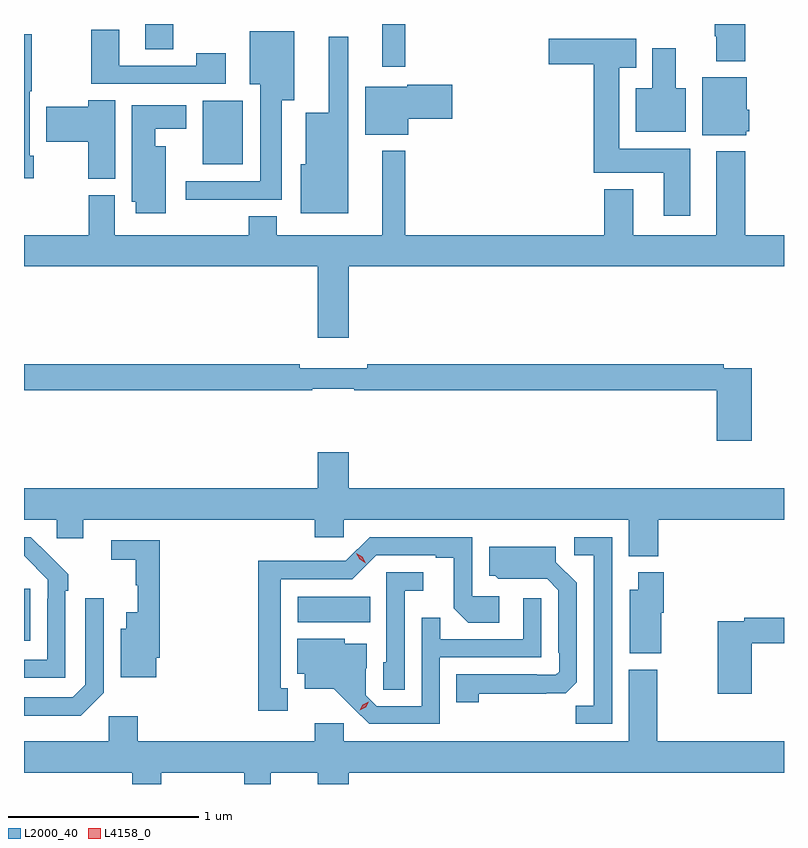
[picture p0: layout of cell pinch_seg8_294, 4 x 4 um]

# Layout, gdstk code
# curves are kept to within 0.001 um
import gdstk
lib = gdstk.Library(unit=1e-6, precision=1e-09)
def R(c, l, rs):  # rectangles x0, y0, x1, y1
    for r in rs: c.add(gdstk.rectangle(r[:2], r[2:], *l))
def P(c, l, *ps):  # polygons
    for p in ps: c.add(gdstk.Polygon(p, *l))
L2000_40 = (2000, 40)
L4158_0 = (4158, 0)

pinch_seg8_294 = lib.new_cell('pinch_seg8_294')
R(pinch_seg8_294, L2000_40, [(511.114,1135.841,511.147,1136.116), (512.556,1135.94,512.936,1136.074), (512.054,1138.349,512.266,1138.684), (512.999,1138.863,513.121,1139.088), (511.751,1138.954,511.899,1139.088)])
P(pinch_seg8_294, L2000_40, [(514.91,1139.088),(514.75,1139.088),(514.75,1139.024),(514.757,1139.024),(514.757,1138.892),(514.91,1138.892)],
  [(512.176,1138.933),(512.02,1138.933),(512.02,1138.869),(511.615,1138.869),(511.615,1139.059),(511.468,1139.059),(511.468,1138.773),(512.176,1138.773)],
  [(512.47,1138.688),(512.536,1138.688),(512.536,1139.05),(512.303,1139.05),(512.303,1138.772),(512.357,1138.772),(512.357,1138.26),(511.965,1138.26),(511.965,1138.163),(512.47,1138.163)],
  [(511.164,1138.395),(511.143,1138.395),(511.143,1138.735),(511.156,1138.735),(511.156,1139.034),(511.114,1139.034),(511.114,1138.277),(511.164,1138.277)],
  [(512.821,1139.02),(512.717,1139.02),(512.717,1138.621),(512.597,1138.621),(512.597,1138.35),(512.57,1138.35),(512.57,1138.091),(512.821,1138.091)],
  [(514.621,1138.432),(514.246,1138.432),(514.246,1138.859),(514.336,1138.859),(514.336,1139.011),(513.876,1139.011),(513.876,1138.877),(514.112,1138.877),(514.112,1138.304),(514.481,1138.304),(514.481,1138.08),(514.621,1138.08)],
  [(514.597,1138.75),(514.543,1138.75),(514.543,1138.96),(514.421,1138.96),(514.421,1138.75),(514.334,1138.75),(514.334,1138.52),(514.597,1138.52)],
  [(514.914,1138.524),(514.93,1138.524),(514.93,1138.638),(514.918,1138.638),(514.918,1138.807),(514.685,1138.807),(514.685,1138.502),(514.914,1138.502)],
  [(513.136,1138.589),(513.367,1138.589),(513.367,1138.767),(513.132,1138.767),(513.132,1138.759),(512.909,1138.759),(512.909,1138.505),(513.136,1138.505)],
  [(511.594,1138.688),(511.453,1138.688),(511.453,1138.652),(511.23,1138.652),(511.23,1138.469),(511.453,1138.469),(511.453,1138.273),(511.594,1138.273)],
  [(511.861,1138.444),(511.804,1138.444),(511.804,1138.538),(511.969,1138.538),(511.969,1138.66),(511.682,1138.66),(511.682,1138.152),(511.703,1138.152),(511.703,1138.092),(511.861,1138.092)],
  [(515.114,1137.976),(514.91,1137.976),(514.91,1138.417),(514.757,1138.417),(514.757,1137.976),(514.321,1137.976),(514.321,1138.219),(514.169,1138.219),(514.169,1137.976),(513.121,1137.976),(513.121,1138.42),(512.999,1138.42),(512.999,1137.976),(512.443,1137.976),(512.443,1138.075),(512.296,1138.075),(512.296,1137.976),(511.591,1137.976),(511.591,1138.188),(511.456,1138.188),(511.456,1137.976),(511.114,1137.976),(511.114,1137.812),(512.66,1137.812),(512.66,1137.438),(512.824,1137.438),(512.824,1137.812),(515.114,1137.812)],
  [(514.943,1137.276),(514.796,1137.276),(514.796,1137.296),(512.92,1137.296),(512.92,1137.277),(512.564,1137.277),(512.564,1137.296),(511.114,1137.296),(511.114,1137.16),(512.631,1137.16),(512.631,1137.168),(512.853,1137.168),(512.853,1137.16),(514.76,1137.16),(514.76,1136.895),(514.943,1136.895)],
  [(514.451,1136.48),(515.114,1136.48),(515.114,1136.644),(512.824,1136.644),(512.824,1136.833),(512.66,1136.833),(512.66,1136.644),(511.114,1136.644),(511.114,1136.48),(511.287,1136.48),(511.287,1136.382),(511.426,1136.382),(511.426,1136.48),(512.645,1136.48),(512.645,1136.387),(512.796,1136.387),(512.796,1136.48),(514.298,1136.48),(514.298,1136.288),(514.451,1136.288)],
  [(514.209,1136.388),(514.011,1136.388),(514.011,1136.292),(514.113,1136.292),(514.113,1135.499),(514.018,1135.499),(514.018,1135.404),(514.209,1135.404)],
  [(512.503,1135.593),(512.464,1135.593),(512.464,1136.166),(512.841,1136.166),(512.967,1136.292),(513.281,1136.292),(513.281,1136.28),(513.375,1136.28),(513.375,1136.012),(513.451,1135.936),(513.616,1135.936),(513.616,1136.076),(513.474,1136.076),(513.474,1136.388),(512.934,1136.388),(512.808,1136.262),(512.586,1136.262),(512.586,1136.264),(512.346,1136.264),(512.346,1135.473),(512.503,1135.473)],
  [(511.332,1136.105),(511.347,1136.105),(511.347,1136.193),(511.15,1136.388),(511.114,1136.388),(511.114,1136.289),(511.239,1136.163),(511.239,1136.063),(511.236,1136.063),(511.236,1135.743),(511.114,1135.743),(511.114,1135.647),(511.332,1135.647)],
  [(511.81,1135.753),(511.829,1135.753),(511.829,1136.37),(511.572,1136.37),(511.572,1136.269),(511.701,1136.269),(511.701,1136.133),(511.712,1136.133),(511.712,1135.993),(511.652,1135.993),(511.652,1135.906),(511.622,1135.906),(511.622,1135.649),(511.81,1135.649)],
  [(513.507,1135.564),(513.964,1135.565),(514.023,1135.624),(514.023,1136.146),(513.913,1136.256),(513.913,1136.338),(513.563,1136.338),(513.563,1136.184),(513.594,1136.184),(513.61,1136.168),(513.867,1136.169),(513.927,1136.109),(513.927,1135.78),(513.93,1135.78),(513.93,1135.68),(513.912,1135.662),(513.812,1135.662),(513.812,1135.665),(513.388,1135.665),(513.388,1135.518),(513.507,1135.518)],
  [(514.468,1135.989),(514.481,1135.989),(514.481,1136.203),(514.346,1136.203),(514.346,1136.11),(514.301,1136.11),(514.301,1135.775),(514.468,1135.775)],
  [(513.117,1136.105),(513.214,1136.105),(513.214,1136.202),(513.021,1136.202),(513.021,1135.728),(513.006,1135.728),(513.006,1135.585),(513.117,1135.585)],
  [(511.533,1135.569),(511.533,1136.065),(511.437,1136.065),(511.437,1135.611),(511.371,1135.545),(511.114,1135.545),(511.114,1135.448),(511.412,1135.448)],
  [(513.303,1135.755),(513.837,1135.755),(513.837,1136.065),(513.741,1136.065),(513.741,1135.851),(513.305,1135.851),(513.305,1135.964),(513.207,1135.964),(513.207,1135.497),(512.97,1135.497),(512.913,1135.554),(512.913,1135.696),(512.917,1135.696),(512.917,1135.825),(512.802,1135.825),(512.802,1135.852),(512.552,1135.852),(512.552,1135.668),(512.591,1135.668),(512.591,1135.589),(512.743,1135.589),(512.93,1135.404),(513.303,1135.404)],
  [(514.943,1135.828),(515.114,1135.828),(515.114,1135.964),(514.906,1135.964),(514.906,1135.944),(514.765,1135.944),(514.765,1135.563),(514.943,1135.563)],
  [(512.796,1135.408),(512.645,1135.408),(512.645,1135.312),(511.712,1135.312),(511.712,1135.444),(511.56,1135.444),(511.56,1135.312),(511.114,1135.312),(511.114,1135.148),(511.685,1135.148),(511.685,1135.088),(511.837,1135.088),(511.837,1135.148),(512.273,1135.148),(512.273,1135.088),(512.413,1135.088),(512.413,1135.148),(512.66,1135.148),(512.66,1135.088),(512.824,1135.088),(512.824,1135.148),(515.114,1135.148),(515.114,1135.312),(514.446,1135.312),(514.446,1135.69),(514.298,1135.69),(514.298,1135.312),(512.796,1135.312)])
P(pinch_seg8_294, L4158_0, [(512.88,1135.477),(512.88,1135.477),(512.898,1135.506),(512.929,1135.521),(512.929,1135.521),(512.929,1135.521),(512.912,1135.492),(512.881,1135.477)],
  [(512.912,1136.251),(512.88,1136.27),(512.863,1136.302),(512.863,1136.302),(512.863,1136.302),(512.895,1136.283),(512.912,1136.251),(512.912,1136.251)])

lib.write_gds('pinch_seg8_294.gds')
